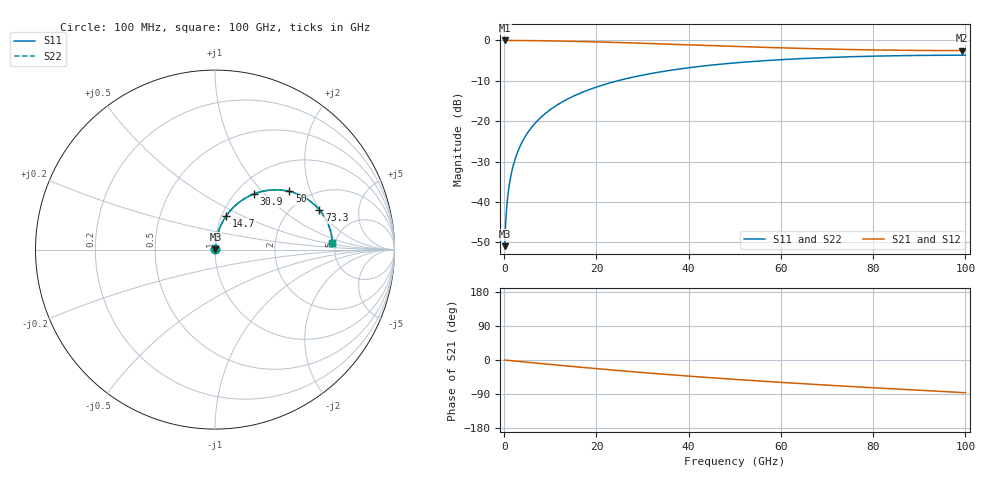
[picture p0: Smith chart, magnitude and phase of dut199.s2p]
! Touchstone file exported from HFSS 2026.1.0
!  File:  C:/ffzhzh/LocalFiles/Ansys_Project_Files/temp_train_RDL_199_1783500680_31944.aedt
!  Generated:  04:52:27 PM Jul  8, 2026
!  Design:  RDL
!  Project:  temp_train_RDL_199_1783500680_31944
! Variables:
!  h_bsmrdl = 2um
!  h_ox = 20um
!  h_rdl = 5um
!  h_sub = 80um
!  h_tmrdl = 2.5um
!  h_tsv = 80um
!  h_via = 3um
!  l_bsmrdl = 300um
!  l_sub = 662.22um
!  l_tmrdl = 262.22um
!  m_sub = 200um
!  pitch = 50.08um
!  r_tsv = 6um
!  s_tmrdl = 10um
!  w_bsmrdl = 18um
!  w_sub = 500um
!  w_tmrdl = 17.25um
!  x_tsv_center1 = 270.845um
!  x_tsv_center2 = 588.845um
!  x_tsv_center3 = 868.315um
!  x_tsv_center4 = 1186.315um
!  x_tsv_center5 = 1465.785um
!  x_tsv_center6 = 1783.785um
# GHz S MA R 50.000000
! Terminal data exported
! Port[1] = TM_RDL1_1_T1
! Port[2] = TM_RDL1_1_T2
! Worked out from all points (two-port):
!   1000 points, 100 MHz to 100 GHz, reference 50 ohm
!   highest |S21| = -0.02 dB at 100 MHz (marker M1); lowest = -2.5 dB at 99.3 GHz (marker M2)
!   |S21| within 3 dB of the highest: start of sweep to end of sweep
!   lowest |S11| = -50.9 dB at 100 MHz (marker M3), VSWR 1.01, Z = 50.2 + j0.152 ohm
!   |S11| at or under -10 dB: start of sweep to 24.61 GHz
!   |S22| runs from -50.9 to -3.7 dB; largest |S21 - S12| = 6e-15
!   S11 on the Smith chart (normalised r, x): 100 MHz: 1.00, +0.00; 14.7 GHz: 1.05, +0.42; 30.9 GHz: 1.21, +0.88; 50 GHz: 1.61, +1.45; 73.3 GHz: 2.73, +1.98; 100 GHz: 4.71, +0.65
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0.1  0.002841 32.1  0.9976 -0.1  0.9976 -0.1  0.002841 32.1
! Gamma 0 0 0 0
! Port Impedance 50 0 50 0
0.4  0.006485 66.2  0.9974 -0.5  0.9974 -0.5  0.006485 66.2
0.9  0.01337 76.8  0.9971 -1.1  0.9971 -1.1  0.01337 76.8
1.4  0.02032 80.0  0.9969 -1.7  0.9969 -1.7  0.02032 80.0
1.9  0.02731 81.4  0.9966 -2.3  0.9966 -2.3  0.02731 81.4
2.4  0.03431 82.0  0.9963 -2.8  0.9963 -2.8  0.03431 82.0
3.7  0.05254 82.1  0.9953 -4.4  0.9953 -4.4  0.05254 82.0
5.6  0.07901 80.8  0.9933 -6.6  0.9933 -6.6  0.07901 80.8
8  0.112 78.5  0.9896 -9.4  0.9896 -9.4  0.112 78.5
11  0.1522 75.4  0.9835 -12.8  0.9835 -12.8  0.1522 75.3
14.7  0.2 71.4  0.9741 -17.0  0.9741 -17.0  0.2 71.4
16.8  0.2261 69.2  0.968 -19.3  0.968 -19.3  0.2261 69.1
23.2  0.3008 62.5  0.9465 -26.2  0.9465 -26.2  0.3008 62.4
30.9  0.38 54.9  0.917 -34.0  0.917 -34.0  0.38 54.8
33.4  0.4032 52.5  0.907 -36.4  0.907 -36.4  0.4032 52.4
50  0.5261 38.1  0.8418 -51.1  0.8418 -51.1  0.5261 37.9
50.1  0.5267 38.0  0.8415 -51.2  0.8415 -51.2  0.5267 37.8
66.7  0.6028 25.4  0.7894 -64.0  0.7894 -64.0  0.6028 25.2
73.3  0.6226 20.8  0.7741 -68.6  0.7741 -68.6  0.6226 20.5
83.4  0.6434 14.1  0.7572 -75.5  0.7572 -75.5  0.6434 13.8
99.3  0.6551 3.9  0.7471 -85.9  0.7471 -85.9  0.6551 3.5
100  0.6551 3.4  0.7471 -86.4  0.7471 -86.4  0.6551 3.0
